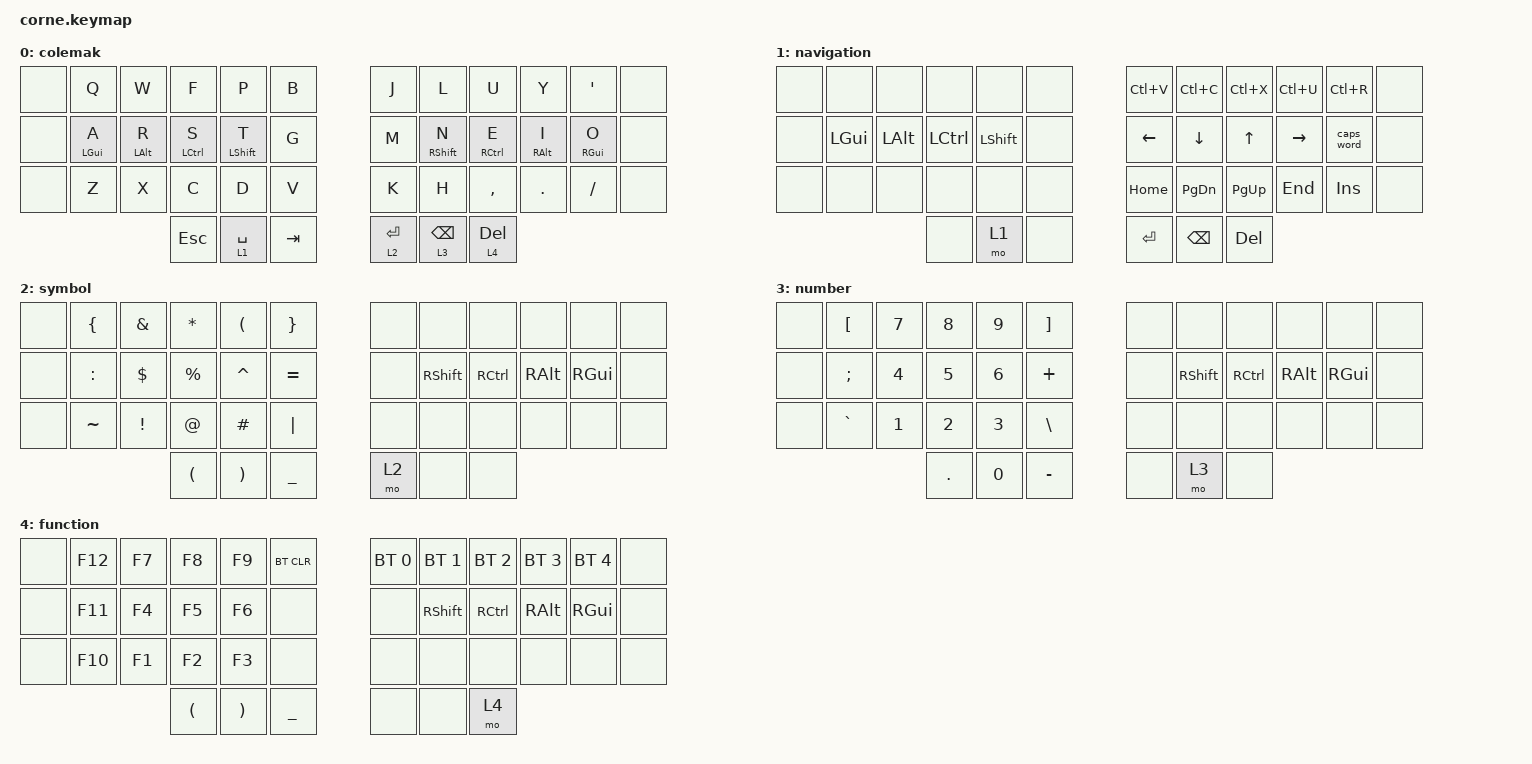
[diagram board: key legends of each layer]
/*
 * Copyright (c) 2020 The ZMK Contributors
 *
 * SPDX-License-Identifier: MIT
 */

#include <behaviors.dtsi>
#include <dt-bindings/zmk/behaviors.h>
#include <dt-bindings/zmk/keys.h>
#include <dt-bindings/zmk/bt.h>

/ {
        behaviors {
            mt: mod_tap {
                compatible = "zmk,behavior-hold-tap";
                #binding-cells = <2>;
                flavor = "balanced";
                require-prior-idle-ms = <150>;
                tapping-term-ms = <280>;
                quick-tap-ms = <175>;
                bindings = <&kp>, <&kp>;
                hold-trigger-on-release;
            };
        };
        keymap {
                compatible = "zmk,keymap";

                colemak {
                        bindings = <
   &none    &kp Q       &kp W       &kp F       &kp P        &kp B       &kp J &kp L       &kp U      &kp Y      &kp APOS      &none
   &none    &mt LGUI A  &mt LALT R  &mt LCTL S  &mt LSHFT T  &kp G       &kp M &mt RSHFT N &mt RCTL E &mt RALT I &mt RGUI O    &none
   &none    &kp Z       &kp X       &kp C       &kp D        &kp V       &kp K &kp H       &kp COMMA  &kp DOT    &kp FSLH      &none
                                        &kp ESC &lt 1 SPACE &kp TAB      &lt 2 RET &lt 3 BSPC &lt 4 DEL
                        >;
                };
                navigation {
                        bindings = <
   &none    &none     &none     &none     &none      &none        &kp LC(V)  &kp LC(C)  &kp LC(X)  &kp LC(U)  &kp LC(R)     &none
   &none    &kp LGUI  &kp LALT  &kp LCTL  &kp LSHFT  &none        &kp LEFT   &kp DOWN   &kp UP     &kp RIGHT  &caps_word    &none
   &none    &none     &none     &none     &none      &none        &kp HOME   &kp PG_DN  &kp PG_UP  &kp END    &kp INS       &none
                                       &none  &mo 1  &none        &kp RET  &kp BSPC  &kp DEL
                        >;
                };

                symbol {
                        bindings = <
   &none    &kp LBRC   &kp AMPS    &kp STAR    &kp LPAR     &kp RBRC        &none  &none      &none     &none     &none        &none
   &none    &kp COLON  &kp DLLR    &kp PRCNT   &kp CARET    &kp EQUAL       &none  &kp RSHFT  &kp RCTL  &kp RALT  &kp RGUI     &none
   &none    &kp TILDE  &kp EXCL    &kp AT      &kp HASH     &kp PIPE        &none  &none      &none     &none     &none        &none
                                        &kp LPAR  &kp RPAR  &kp UNDER       &mo 2  &none  &none
                        >;
                };
                number {
                        bindings = <
   &none    &kp LBKT   &kp N7  &kp N8  &kp N9  &kp RBKT        &none  &none      &none     &none     &none       &none
   &none    &kp SEMI   &kp N4  &kp N5  &kp N6  &kp PLUS        &none  &kp RSHFT  &kp RCTL  &kp RALT  &kp RGUI    &none
   &none    &kp GRAVE  &kp N1  &kp N2  &kp N3  &kp BSLH        &none  &none      &none     &none     &none       &none
                             &kp DOT  &kp N0  &kp MINUS        &none  &mo 3  &none
                        >;
                };
                function {
                        bindings = <
   &none    &kp F12  &kp F7  &kp F8  &kp F9  &bt BT_CLR         &bt BT_SEL 0  &bt BT_SEL 1  &bt BT_SEL 2  &bt BT_SEL 3  &bt BT_SEL 4   &none
   &none    &kp F11  &kp F4  &kp F5  &kp F6  &none              &none         &kp RSHFT     &kp RCTL      &kp RALT   &kp RGUI    &none
   &none    &kp F10  &kp F1  &kp F2  &kp F3  &none              &none         &none         &none         &none      &none       &none
                         &kp LPAR  &kp RPAR  &kp UNDER          &none  &none  &mo 4
                        >;
                };
        };
};
